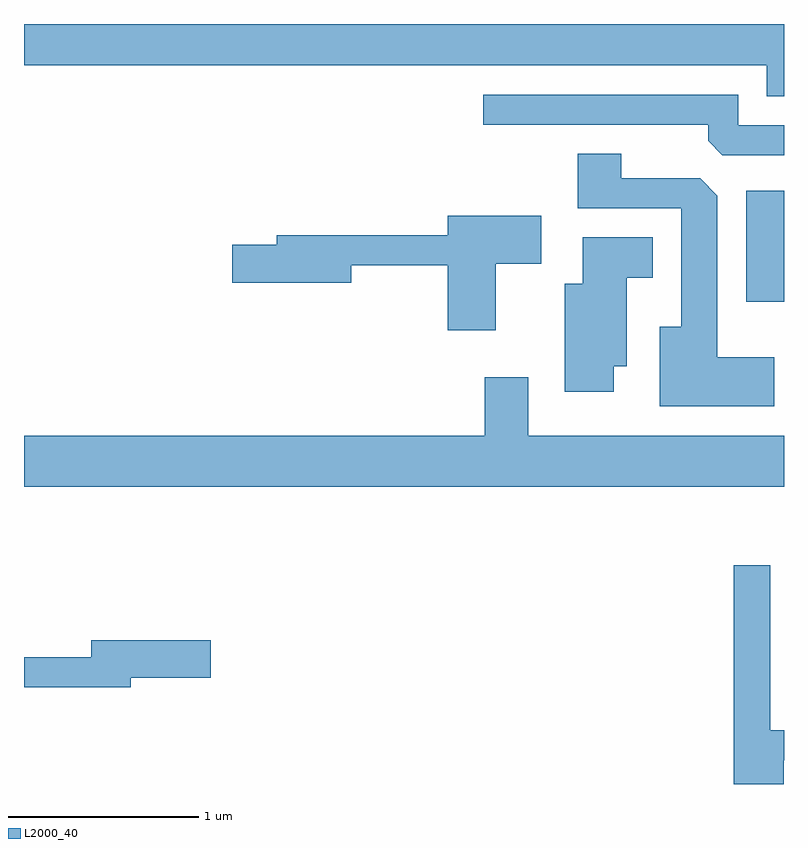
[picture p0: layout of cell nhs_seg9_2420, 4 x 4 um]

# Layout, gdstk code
import gdstk
lib = gdstk.Library(unit=1e-6, precision=1e-09)
def R(c, l, rs):  # rectangles x0, y0, x1, y1
    for r in rs: c.add(gdstk.rectangle(r[:2], r[2:], *l))
def P(c, l, *ps):  # polygons
    for p in ps: c.add(gdstk.Polygon(p, *l))
L2000_40 = (2000, 40)

nhs_seg9_2420 = lib.new_cell('nhs_seg9_2420')
R(nhs_seg9_2420, L2000_40, [(259.411,2034.971,259.611,2035.554)])
P(nhs_seg9_2420, L2000_40, [(259.611,2036.432),(255.611,2036.432),(255.611,2036.216),(259.521,2036.216),(259.521,2036.051),(259.611,2036.051)],
  [(259.611,2035.899),(259.369,2035.899),(259.369,2036.059),(258.028,2036.059),(258.028,2035.901),(259.211,2035.901),(259.211,2035.817),(259.287,2035.741),(259.611,2035.741)],
  [(259.559,2034.679),(259.259,2034.679),(259.259,2035.529),(259.169,2035.619),(258.754,2035.619),(258.754,2035.749),(258.526,2035.749),(258.526,2035.461),(259.071,2035.461),(259.071,2034.839),(258.956,2034.839),(258.956,2034.421),(259.559,2034.421)],
  [(258.094,2035.171),(258.334,2035.171),(258.334,2035.424),(257.841,2035.424),(257.841,2035.319),(256.941,2035.319),(256.941,2035.269),(256.706,2035.269),(256.706,2035.071),(257.334,2035.071),(257.334,2035.161),(257.841,2035.161),(257.841,2034.821),(258.094,2034.821)],
  [(258.714,2034.631),(258.784,2034.631),(258.784,2035.096),(258.919,2035.096),(258.919,2035.309),(258.551,2035.309),(258.551,2035.064),(258.456,2035.064),(258.456,2034.496),(258.714,2034.496)],
  [(259.611,2034.264),(258.264,2034.264),(258.264,2034.574),(258.036,2034.574),(258.036,2034.264),(255.611,2034.264),(255.611,2033.996),(259.611,2033.996)],
  [(259.609,2032.556),(259.611,2032.556),(259.611,2032.714),(259.539,2032.714),(259.539,2033.584),(259.346,2033.584),(259.346,2032.432),(259.609,2032.432)],
  [(256.174,2032.991),(256.594,2032.991),(256.594,2033.189),(255.966,2033.189),(255.966,2033.099),(255.611,2033.099),(255.611,2032.941),(256.174,2032.941)])

lib.write_gds('nhs_seg9_2420.gds')
